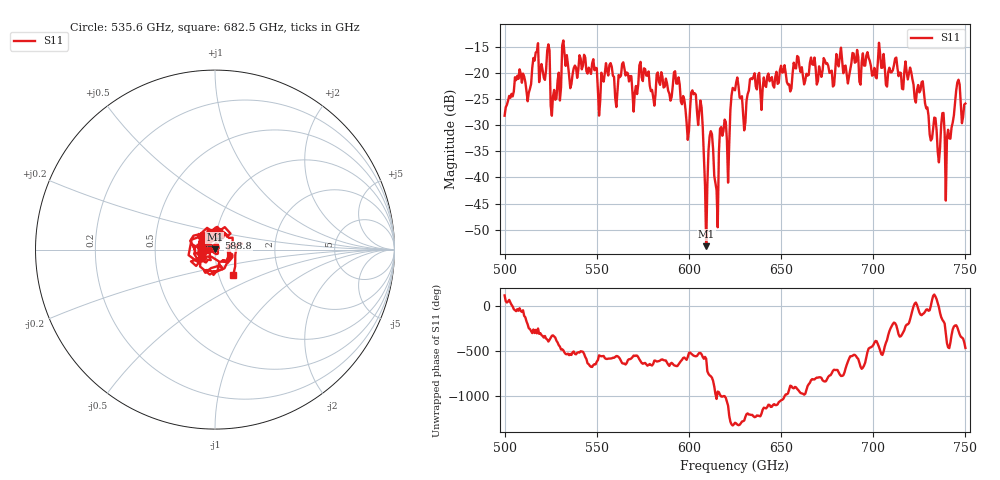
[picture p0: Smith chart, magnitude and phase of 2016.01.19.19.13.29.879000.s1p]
!Created with skrf (http://scikit-rf.org).
# GHz S RI R 50.0
!freq ReS11 ImS11
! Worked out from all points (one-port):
!   401 points, 500 GHz to 750 GHz, reference 50 ohm
!   lowest |S11| = -53.2 dB at 609.4 GHz (marker M1), VSWR 1.00, Z = 49.8 + j0.15 ohm
!   |S11| at or under -10 dB: start of sweep to end of sweep
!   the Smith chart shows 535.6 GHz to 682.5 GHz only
!   S11 on the Smith chart (normalised r, x): 535.6 GHz: 0.87, -0.02; 588.8 GHz: 1.03, +0.13; 682.5 GHz: 1.17, -0.35
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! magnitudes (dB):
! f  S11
! 500 GHz  -28.1
! 516.9 GHz  -16.0
! 523.1 GHz  -15.6
! 526.2 GHz  -24.4
! 531.2 GHz  -14.7
! 535.6 GHz  -22.9
! 562.5 GHz  -20.7
! 588.8 GHz  -23.4
! 593.8 GHz  -22.0
! 599.4 GHz  -32.8
! 602.5 GHz  -24.0
! 606.2 GHz  -25.2
! 609.4 GHz  -53.2
! 611.9 GHz  -31.1
! 615 GHz  -42.4
! 618.1 GHz  -32.0
! 621.2 GHz  -41.0
! 625 GHz  -23.3
! 630 GHz  -31.0
! 634.4 GHz  -21.1
! 656.2 GHz  -20.0
! 682.5 GHz  -15.1
! 687.5 GHz  -19.4
! 718.8 GHz  -21.2
! 735.6 GHz  -37.1
! 740.6 GHz  -30.8
! 745.6 GHz  -21.8
! 750 GHz  -25.8
